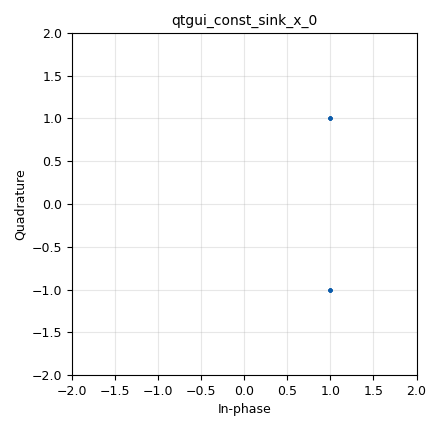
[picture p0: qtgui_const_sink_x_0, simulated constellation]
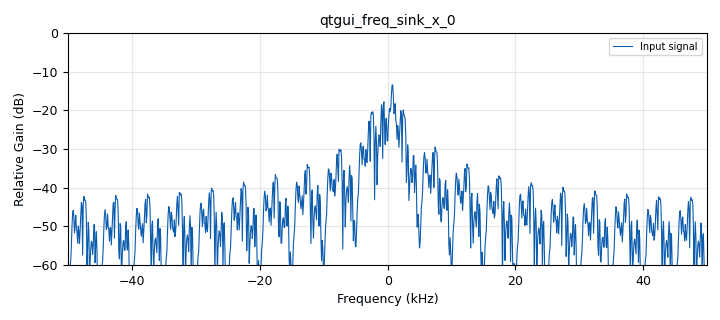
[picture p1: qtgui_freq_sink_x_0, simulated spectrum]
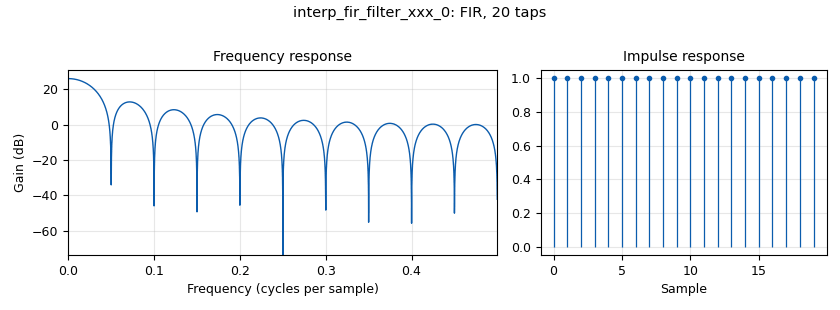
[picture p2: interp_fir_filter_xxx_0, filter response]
options:
  parameters:
    category: Custom
    description: IQ_tutorial_QPSK
    generate_options: qt_gui
    id: IQ_tutorial_QPSK
    output_language: python
    title: QPSK
  states: {}

blocks:
- name: Signal
  id: variable_qtgui_range
  parameters:
    gui_hint: 0,3,1,1
    label: Señal
    min_len: '10'
    start: '0.1'
    step: '0.1'
    stop: '1'
    value: '1'
  states: {}
- name: bit_rate
  id: variable
  parameters:
    value: '5000'
  states: {}
- name: delta_f_over_f0
  id: variable_qtgui_range
  parameters:
    comment: |-
      Small delta_f
      Esto es un comentario
    gui_hint: 2,3,1,1
    start: '-1.0e-4'
    step: '1.0e-6'
    stop: '1.0e-4'
    value: '0'
  states: {}
- name: noise
  id: variable_qtgui_range
  parameters:
    gui_hint: 1,3,1,1
    label: Noise
    min_len: '50'
    start: '0'
    step: '0.01'
    stop: '0.5'
    value: '0'
  states: {}
- name: samp_rate
  id: variable
  parameters:
    value: bit_rate*sample_per_bit
  states: {}
- name: sample_per_bit
  id: variable
  parameters:
    value: '20'
  states: {}
- name: analog_random_source_x_0
  id: analog_random_source_x
  parameters:
    max: '2'
    min: '0'
    num_samps: '1000'
    repeat: 'True'
    type: byte
  states: {}
- name: analog_random_source_x_0_0
  id: analog_random_source_x
  parameters:
    max: '2'
    min: '0'
    num_samps: '1000'
    repeat: 'True'
    type: byte
  states: {}
- name: blocks_add_const_vxx_0_0
  id: blocks_add_const_vxx
  parameters:
    const: '-1-1j'
    type: complex
  states: {}
- name: blocks_char_to_float_0
  id: blocks_char_to_float
  parameters:
    scale: '0.5'
  states: {}
- name: blocks_char_to_float_0_0
  id: blocks_char_to_float
  parameters:
    scale: '0.5'
  states: {}
- name: blocks_float_to_complex_1
  id: blocks_float_to_complex
  parameters: {}
  states: {}
- name: blocks_multiply_const_vxx_0
  id: blocks_multiply_const_vxx
  parameters:
    const: Signal
    type: complex
  states: {}
- name: blocks_throttle_1
  id: blocks_throttle
  parameters:
    samples_per_second: samp_rate
    type: complex
  states: {}
- name: channels_channel_model_0
  id: channels_channel_model
  parameters:
    epsilon: '1.0'
    freq_offset: delta_f_over_f0
    noise_voltage: noise
    seed: '0'
    taps: '1'
  states: {}
- name: interp_fir_filter_xxx_0
  id: interp_fir_filter_xxx
  parameters:
    comment: interpolate without filtering
    interp: sample_per_bit
    taps: numpy.ones(sample_per_bit)
    type: ccc
  states: {}
- name: qtgui_const_sink_x_0
  id: qtgui_const_sink_x
  parameters:
    gui_hint: tab@0:0,0,1,1
    size: '100'
    style1: '3'
    type: complex
  states: {}
- name: qtgui_freq_sink_x_0
  id: qtgui_freq_sink_x
  parameters:
    bw: samp_rate
    ctrlpanel: 'True'
    fc: '0'
    fftsize: '1024'
    gui_hint: tab@1:0,0,1,1
    label1: Input signal
    type: complex
    ymax: '0'
    ymin: '-60'
  states: {}
- name: tab
  id: qtgui_tab_widget
  parameters:
    gui_hint: 0,0,3,3
    label0: Cosntalación
    label1: Espectro
    num_tabs: '2'
  states: {}
- name: virtual_sink_0
  id: virtual_sink
  parameters:
    alias: QPSK
    comment: i(t)+jq(t) complex signal
    stream_id: QPSK
  states: {}
- name: virtual_source_0
  id: virtual_source
  parameters:
    comment: QPSK at F0
    stream_id: QPSK
  states: {}

connections:
- [analog_random_source_x_0, '0', blocks_char_to_float_0, '0']
- [analog_random_source_x_0_0, '0', blocks_char_to_float_0_0, '0']
- [blocks_add_const_vxx_0_0, '0', interp_fir_filter_xxx_0, '0']
- [blocks_char_to_float_0, '0', blocks_float_to_complex_1, '0']
- [blocks_char_to_float_0_0, '0', blocks_float_to_complex_1, '1']
- [blocks_float_to_complex_1, '0', blocks_add_const_vxx_0_0, '0']
- [blocks_multiply_const_vxx_0, '0', channels_channel_model_0, '0']
- [blocks_throttle_1, '0', blocks_multiply_const_vxx_0, '0']
- [channels_channel_model_0, '0', qtgui_const_sink_x_0, '0']
- [channels_channel_model_0, '0', qtgui_freq_sink_x_0, '0']
- [interp_fir_filter_xxx_0, '0', virtual_sink_0, '0']
- [virtual_source_0, '0', blocks_throttle_1, '0']

metadata:
  file_format: 1
  grc_version: 3.10.12.0
